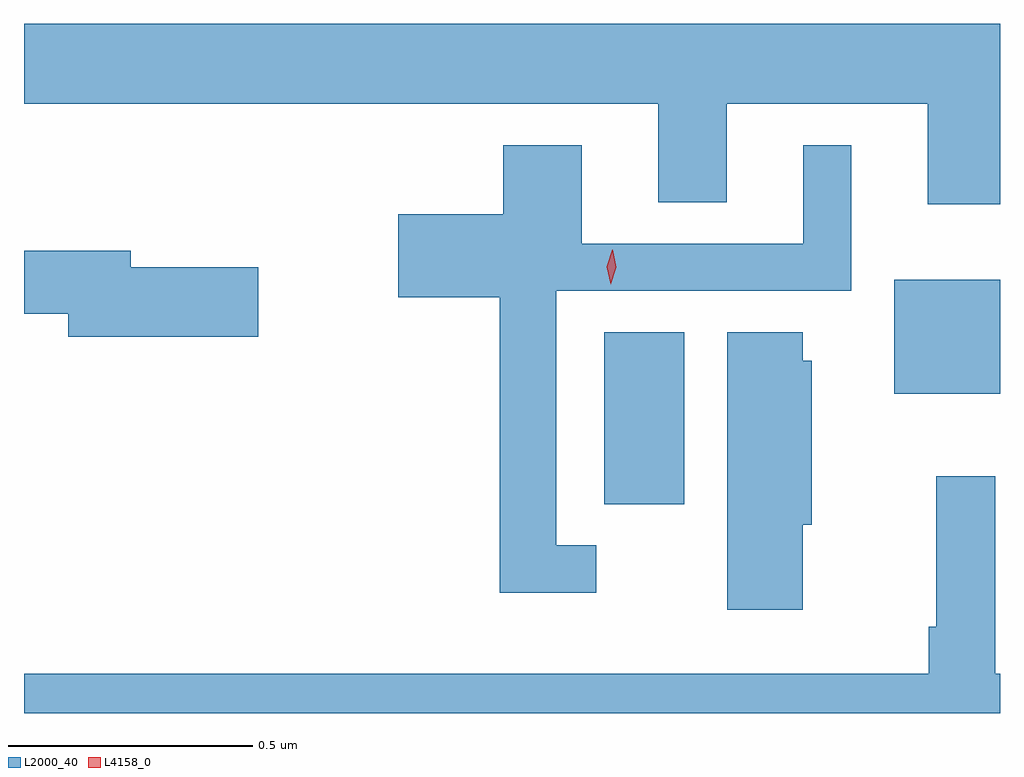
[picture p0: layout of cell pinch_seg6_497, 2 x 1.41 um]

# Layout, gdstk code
import gdstk
lib = gdstk.Library(unit=1e-6, precision=1e-09)
def R(c, l, rs):  # rectangles x0, y0, x1, y1
    for r in rs: c.add(gdstk.rectangle(r[:2], r[2:], *l))
def P(c, l, *ps):  # polygons
    for p in ps: c.add(gdstk.Polygon(p, *l))
L2000_40 = (2000, 40)
L4158_0 = (4158, 0)

pinch_seg6_497 = lib.new_cell('pinch_seg6_497')
R(pinch_seg6_497, L2000_40, [(826.226,941.187,826.39,941.54), (826.82,941.414,827.037,941.647)])
P(pinch_seg6_497, L2000_40, [(827.037,942.172),(825.037,942.172),(825.037,942.008),(826.337,942.008),(826.337,941.806),(826.477,941.806),(826.477,942.008),(826.889,942.008),(826.889,941.802),(827.037,941.802)],
  [(826.21,941.103),(826.128,941.103),(826.128,941.625),(826.732,941.625),(826.732,941.923),(826.634,941.923),(826.634,941.721),(826.18,941.721),(826.18,941.923),(826.019,941.923),(826.019,941.782),(825.804,941.782),(825.804,941.612),(826.012,941.612),(826.012,941.006),(826.21,941.006)],
  [(825.517,941.673),(825.256,941.673),(825.256,941.707),(825.037,941.707),(825.037,941.578),(825.128,941.578),(825.128,941.531),(825.517,941.531)],
  [(826.633,941.145),(826.651,941.145),(826.651,941.481),(826.633,941.481),(826.633,941.54),(826.478,941.54),(826.478,940.971),(826.633,940.971)],
  [(827.037,940.84),(827.027,940.84),(827.027,941.245),(826.906,941.245),(826.906,940.936),(826.891,940.936),(826.891,940.84),(825.037,940.84),(825.037,940.759),(827.037,940.759)])
P(pinch_seg6_497, L4158_0, [(826.239,941.638),(826.239,941.638),(826.231,941.674),(826.242,941.709),(826.242,941.709),(826.243,941.709),(826.251,941.673),(826.239,941.638)])

lib.write_gds('pinch_seg6_497.gds')
